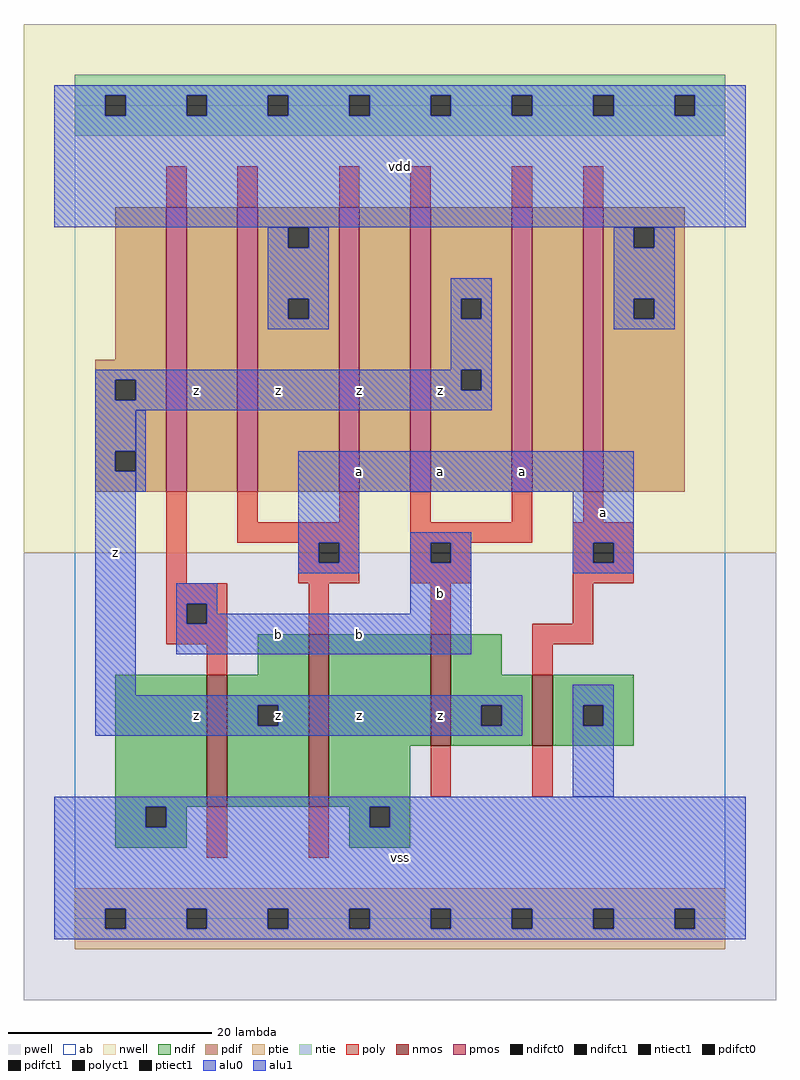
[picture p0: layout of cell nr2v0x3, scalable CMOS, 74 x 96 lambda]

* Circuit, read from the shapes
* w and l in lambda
.subckt nr2v0x3 a b vdd vss z
M1 z b vss vss nfet w=13 l=2
M2 vss a z vss nfet w=17 l=2
M3 z b vss vss nfet w=11 l=2
M4 vss a z vss nfet w=7 l=2
M5 n1 b z vdd pfet w=28 l=2
M6 vdd a n1 vdd pfet w=28 l=2
M7 n2 a vdd vdd pfet w=28 l=2
M8 z b n2 vdd pfet w=28 l=2
M9 n3 b z vdd pfet w=28 l=2
M10 vdd a n3 vdd pfet w=28 l=2
.ends

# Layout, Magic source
magic
tech scmos
<< ab >>
rect 0 0 64 80
<< nwell >>
rect -5 36 69 88
<< pwell >>
rect -5 -8 69 36
<< poly >>
rect 9 70 11 74
rect 16 70 18 74
rect 26 70 28 74
rect 33 70 35 74
rect 43 70 45 74
rect 50 70 52 74
rect 9 33 11 42
rect 16 39 18 42
rect 26 39 28 42
rect 16 37 28 39
rect 22 35 24 37
rect 26 35 28 37
rect 22 33 28 35
rect 33 39 35 42
rect 43 39 45 42
rect 50 39 52 42
rect 33 37 45 39
rect 49 37 55 39
rect 33 35 35 37
rect 37 35 39 37
rect 33 33 39 35
rect 49 35 51 37
rect 53 35 55 37
rect 49 33 55 35
rect 9 31 15 33
rect 9 29 11 31
rect 13 29 15 31
rect 9 27 15 29
rect 23 28 25 33
rect 35 28 37 33
rect 49 29 51 33
rect 13 24 15 27
rect 45 27 51 29
rect 45 24 47 27
rect 35 12 37 17
rect 45 12 47 17
rect 13 6 15 11
rect 23 6 25 11
<< ndif >>
rect 18 24 23 28
rect 4 11 13 24
rect 15 21 23 24
rect 15 19 18 21
rect 20 19 23 21
rect 15 11 23 19
rect 25 17 35 28
rect 37 24 42 28
rect 37 21 45 24
rect 37 19 40 21
rect 42 19 45 21
rect 37 17 45 19
rect 47 21 55 24
rect 47 19 50 21
rect 52 19 55 21
rect 47 17 55 19
rect 25 11 33 17
rect 4 9 7 11
rect 9 9 11 11
rect 4 7 11 9
rect 27 9 29 11
rect 31 9 33 11
rect 27 7 33 9
<< pdif >>
rect 4 55 9 70
rect 2 53 9 55
rect 2 51 4 53
rect 6 51 9 53
rect 2 46 9 51
rect 2 44 4 46
rect 6 44 9 46
rect 2 42 9 44
rect 11 42 16 70
rect 18 68 26 70
rect 18 66 21 68
rect 23 66 26 68
rect 18 61 26 66
rect 18 59 21 61
rect 23 59 26 61
rect 18 42 26 59
rect 28 42 33 70
rect 35 61 43 70
rect 35 59 38 61
rect 40 59 43 61
rect 35 54 43 59
rect 35 52 38 54
rect 40 52 43 54
rect 35 42 43 52
rect 45 42 50 70
rect 52 68 60 70
rect 52 66 55 68
rect 57 66 60 68
rect 52 61 60 66
rect 52 59 55 61
rect 57 59 60 61
rect 52 42 60 59
<< alu1 >>
rect -2 81 66 82
rect -2 79 3 81
rect 5 79 11 81
rect 13 79 19 81
rect 21 79 27 81
rect 29 79 35 81
rect 37 79 43 81
rect 45 79 51 81
rect 53 79 59 81
rect 61 79 66 81
rect -2 68 66 79
rect 37 61 41 63
rect 37 59 38 61
rect 40 59 41 61
rect 37 54 41 59
rect 2 53 38 54
rect 2 51 4 53
rect 6 52 38 53
rect 40 52 41 54
rect 6 51 41 52
rect 2 50 41 51
rect 2 46 6 50
rect 2 44 4 46
rect 2 22 6 44
rect 22 42 55 46
rect 22 37 28 42
rect 22 35 24 37
rect 26 35 28 37
rect 22 34 28 35
rect 33 37 39 38
rect 33 35 35 37
rect 37 35 39 37
rect 10 31 14 33
rect 10 29 11 31
rect 13 30 14 31
rect 33 30 39 35
rect 49 37 55 42
rect 49 35 51 37
rect 53 35 55 37
rect 49 34 55 35
rect 13 29 39 30
rect 10 26 39 29
rect 2 21 44 22
rect 2 19 18 21
rect 20 19 40 21
rect 42 19 44 21
rect 2 18 44 19
rect -2 11 66 12
rect -2 9 7 11
rect 9 9 29 11
rect 31 9 66 11
rect -2 1 66 9
rect -2 -1 3 1
rect 5 -1 11 1
rect 13 -1 19 1
rect 21 -1 27 1
rect 29 -1 35 1
rect 37 -1 43 1
rect 45 -1 51 1
rect 53 -1 59 1
rect 61 -1 66 1
rect -2 -2 66 -1
<< ptie >>
rect 0 1 64 3
rect 0 -1 3 1
rect 5 -1 11 1
rect 13 -1 19 1
rect 21 -1 27 1
rect 29 -1 35 1
rect 37 -1 43 1
rect 45 -1 51 1
rect 53 -1 59 1
rect 61 -1 64 1
rect 0 -3 64 -1
<< ntie >>
rect 0 81 64 83
rect 0 79 3 81
rect 5 79 11 81
rect 13 79 19 81
rect 21 79 27 81
rect 29 79 35 81
rect 37 79 43 81
rect 45 79 51 81
rect 53 79 59 81
rect 61 79 64 81
rect 0 77 64 79
<< nmos >>
rect 13 11 15 24
rect 23 11 25 28
rect 35 17 37 28
rect 45 17 47 24
<< pmos >>
rect 9 42 11 70
rect 16 42 18 70
rect 26 42 28 70
rect 33 42 35 70
rect 43 42 45 70
rect 50 42 52 70
<< polyct1 >>
rect 24 35 26 37
rect 35 35 37 37
rect 51 35 53 37
rect 11 29 13 31
<< ndifct0 >>
rect 50 19 52 21
<< ndifct1 >>
rect 18 19 20 21
rect 40 19 42 21
rect 7 9 9 11
rect 29 9 31 11
<< ntiect1 >>
rect 3 79 5 81
rect 11 79 13 81
rect 19 79 21 81
rect 27 79 29 81
rect 35 79 37 81
rect 43 79 45 81
rect 51 79 53 81
rect 59 79 61 81
<< ptiect1 >>
rect 3 -1 5 1
rect 11 -1 13 1
rect 19 -1 21 1
rect 27 -1 29 1
rect 35 -1 37 1
rect 43 -1 45 1
rect 51 -1 53 1
rect 59 -1 61 1
<< pdifct0 >>
rect 21 66 23 68
rect 21 59 23 61
rect 55 66 57 68
rect 55 59 57 61
<< pdifct1 >>
rect 4 51 6 53
rect 4 44 6 46
rect 38 59 40 61
rect 38 52 40 54
<< alu0 >>
rect 19 66 21 68
rect 23 66 25 68
rect 19 61 25 66
rect 53 66 55 68
rect 57 66 59 68
rect 19 59 21 61
rect 23 59 25 61
rect 19 58 25 59
rect 53 61 59 66
rect 53 59 55 61
rect 57 59 59 61
rect 53 58 59 59
rect 6 42 7 50
rect 49 21 53 23
rect 49 19 50 21
rect 52 19 53 21
rect 49 12 53 19
<< labels >>
rlabel alu1 12 20 12 20 6 z
rlabel alu1 4 36 4 36 6 z
rlabel alu1 12 52 12 52 6 z
rlabel alu1 20 20 20 20 6 z
rlabel alu1 28 20 28 20 6 z
rlabel alu1 20 28 20 28 6 b
rlabel alu1 28 28 28 28 6 b
rlabel alu1 28 44 28 44 6 a
rlabel alu1 20 52 20 52 6 z
rlabel alu1 28 52 28 52 6 z
rlabel alu1 32 6 32 6 6 vss
rlabel alu1 36 20 36 20 6 z
rlabel alu1 36 32 36 32 6 b
rlabel alu1 44 44 44 44 6 a
rlabel alu1 36 44 36 44 6 a
rlabel alu1 36 52 36 52 6 z
rlabel alu1 32 74 32 74 6 vdd
rlabel alu1 52 40 52 40 6 a
<< end >>
